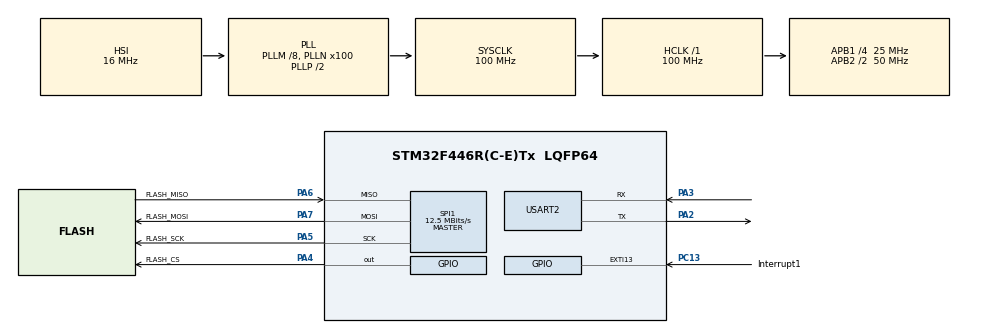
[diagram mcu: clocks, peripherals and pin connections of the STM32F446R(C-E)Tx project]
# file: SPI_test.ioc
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FREERTOS.Tasks01=App1,24,128,StartApp1,Default,NULL,Dynamic,NULL,NULL;App2,8,128,StartApp2,Default,NULL,Dynamic,NULL,NULL;App3,8,128,StartApp3,Default,NULL,Dynamic,NULL,NULL
FREERTOS.configUSE_NEWLIB_REENTRANT=1
Mcu.Family=STM32F4
Mcu.Name=STM32F446R(C-E)Tx
Mcu.Package=LQFP64
NVIC.EXTI15_10_IRQn=true\:5\:0\:false\:false\:true\:true\:true\:true\:true
NVIC.PriorityGroup=NVIC_PRIORITYGROUP_4
NVIC.TIM6_DAC_IRQn=true\:15\:0\:false\:false\:true\:false\:false\:true\:true
NVIC.TimeBase=TIM6_DAC_IRQn
NVIC.TimeBaseIP=TIM6
PA13.Mode=Serial_Wire
PA13.Signal=SYS_JTMS-SWDIO
PA14.Mode=Serial_Wire
PA14.Signal=SYS_JTCK-SWCLK
PA2.Mode=Asynchronous
PA2.Signal=USART2_TX
PA3.Mode=Asynchronous
PA3.Signal=USART2_RX
PA4.GPIO_Label=FLASH_CS
PA4.GPIO_Speed=GPIO_SPEED_FREQ_HIGH
PA4.PinState=GPIO_PIN_SET
PA4.Signal=GPIO_Output
PA5.GPIO_Label=FLASH_SCK
PA5.Mode=Full_Duplex_Master
PA5.Signal=SPI1_SCK
PA6.GPIO_Label=FLASH_MISO
PA6.Mode=Full_Duplex_Master
PA6.Signal=SPI1_MISO
PA7.GPIO_Label=FLASH_MOSI
PA7.Mode=Full_Duplex_Master
PA7.Signal=SPI1_MOSI
PC13.GPIO_Label=Interrupt1
PC13.Signal=GPXTI13
ProjectManager.HeapSize=0x200
ProjectManager.StackSize=0x400
ProjectManager.TargetToolchain=STM32CubeIDE
RCC.AHBFreq_Value=100000000
RCC.APB1CLKDivider=RCC_HCLK_DIV4
RCC.APB1Freq_Value=25000000
RCC.APB1TimFreq_Value=50000000
RCC.APB2CLKDivider=RCC_HCLK_DIV2
RCC.APB2Freq_Value=50000000
RCC.APB2TimFreq_Value=100000000
RCC.CortexFreq_Value=100000000
RCC.HCLKFreq_Value=100000000
RCC.PLLM=8
RCC.PLLN=100
RCC.SYSCLKFreq_VALUE=100000000
RCC.SYSCLKSource=RCC_SYSCLKSOURCE_PLLCLK
RCC.USBFreq_Value=100000000
RCC.VCOOutputFreq_Value=200000000
SPI1.BaudRatePrescaler=SPI_BAUDRATEPRESCALER_4
SPI1.CalculateBaudRate=12.5 MBits/s
SPI1.Direction=SPI_DIRECTION_2LINES
SPI1.Mode=SPI_MODE_MASTER
SPI1.VirtualType=VM_MASTER
USART2.VirtualMode=VM_ASYNC
VP_FREERTOS_VS_CMSIS_V2.Mode=CMSIS_V2
VP_SYS_VS_tim6.Mode=TIM6
board=custom

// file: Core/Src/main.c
/* USER CODE BEGIN Header */
/**
  ******************************************************************************
  * @file           : main.c
  * @brief          : Main program body
  ******************************************************************************
  * @attention
  *
  * Copyright (c) 2024 STMicroelectronics.
  * All rights reserved.
  *
  * This software is licensed under terms that can be found in the LICENSE file
  * in the root directory of this software component.
  * If no LICENSE file comes with this software, it is provided AS-IS.
  *
  ******************************************************************************
  */
/* USER CODE END Header */
#include "main.h"
#include "cmsis_os.h"

/* USER CODE BEGIN Includes */
#include "z_flash_W25QXXX.h"
#include <string.h>
#include <stdio.h>
#include <stdbool.h>
#include "memory_operations.h"
#include "applications.h"
#include "FreeRTOS.h"
#include "semphr.h"

/* USER CODE END Includes */

SPI_HandleTypeDef hspi1;

UART_HandleTypeDef huart2;

/* Definitions for App1 */
osThreadId_t App1Handle;
const osThreadAttr_t App1_attributes = {
  .name = "App1",
  .stack_size = 128 * 4,
  .priority = (osPriority_t) osPriorityNormal,
};

void SystemClock_Config(void);
static void MX_GPIO_Init(void);
static void MX_SPI1_Init(void);
static void MX_USART2_UART_Init(void);
void StartApp1(void *argument);

/* USER CODE BEGIN 0 */
#ifdef __GNUC__
int __io_putchar(int ch)
#else
int fputc(int ch, FILE *f)
#endif /* __GNUC__ */
{
	HAL_UART_Transmit(&huart2, (uint8_t *)&ch, 1, HAL_MAX_DELAY);
	return ch;
}

/* USER CODE END 0 */

int main(void)
{

  /* MCU Configuration--------------------------------------------------------*/

  /* Reset of all peripherals, Initializes the Flash interface and the Systick. */
  HAL_Init();

  /* Configure the system clock */
  SystemClock_Config();

  /* Initialize all configured peripherals */
  MX_GPIO_Init();
  MX_SPI1_Init();
  MX_USART2_UART_Init();
  /* USER CODE BEGIN 2 */
  printf("Starting System...\r\n");

  Flash_ChipErase();
  printf("Flash_ChipErase Performed\r\n");

  void Init();

  /* USER CODE END 2 */

  /* Init scheduler */
  osKernelInitialize();

  /* Create the thread(s) */
  /* creation of App1 */
  App1Handle = osThreadNew(StartApp1, NULL, &App1_attributes);

  /* Start scheduler */
  osKernelStart();

  /* We should never get here as control is now taken by the scheduler */
  /* Infinite loop */
  while (1)
  {

    /* USER CODE BEGIN 3 */
	  /*
	  printf("holaa que tal?\r\n");
	  HAL_Delay(1000);

	  if (!Flash_Init()){
		  while(1){}
	  }

	  //Flash_ChipErase();
	  uint8_t mess[20];

	  strcpy((char*)mess, "TestMessage");

	  Flash_Write(0, mess, 12);

	  strcpy((char*)mess, "            ");

	  Flash_Read(0, mess, 12);

	  HAL_Delay(100);

	  //perform safety copy
	  uint8_t *ptr = (uint8_t *)0x800c000; //Sector 3 Address
	  Flash_Write(0x9000c000,ptr,GetSectorSize(ADDR_FLASH_SECTOR_3 ));
	  Flash_WaitForWritingComplete();

	  CopyCodeFromFlash(0x9000c000, ADDR_FLASH_SECTOR_4, GetSectorSize(ADDR_FLASH_SECTOR_3 ));

	  HAL_Delay(1000);
	  */

  }
  /* USER CODE END 3 */
}

void SystemClock_Config(void)
{
  RCC_OscInitTypeDef RCC_OscInitStruct = {0};
  RCC_ClkInitTypeDef RCC_ClkInitStruct = {0};

  /** Configure the main internal regulator output voltage
  */
  __HAL_RCC_PWR_CLK_ENABLE();
  __HAL_PWR_VOLTAGESCALING_CONFIG(PWR_REGULATOR_VOLTAGE_SCALE3);

  /** Initializes the RCC Oscillators according to the specified parameters
  * in the RCC_OscInitTypeDef structure.
  */
  RCC_OscInitStruct.OscillatorType = RCC_OSCILLATORTYPE_HSI;
  RCC_OscInitStruct.HSIState = RCC_HSI_ON;
  RCC_OscInitStruct.HSICalibrationValue = RCC_HSICALIBRATION_DEFAULT;
  RCC_OscInitStruct.PLL.PLLState = RCC_PLL_ON;
  RCC_OscInitStruct.PLL.PLLSource = RCC_PLLSOURCE_HSI;
  RCC_OscInitStruct.PLL.PLLM = 8;
  RCC_OscInitStruct.PLL.PLLN = 100;
  RCC_OscInitStruct.PLL.PLLP = RCC_PLLP_DIV2;
  RCC_OscInitStruct.PLL.PLLQ = 2;
  RCC_OscInitStruct.PLL.PLLR = 2;
  if (HAL_RCC_OscConfig(&RCC_OscInitStruct) != HAL_OK)
  {
    Error_Handler();
  }

  /** Initializes the CPU, AHB and APB buses clocks
  */
  RCC_ClkInitStruct.ClockType = RCC_CLOCKTYPE_HCLK|RCC_CLOCKTYPE_SYSCLK
                              |RCC_CLOCKTYPE_PCLK1|RCC_CLOCKTYPE_PCLK2;
  RCC_ClkInitStruct.SYSCLKSource = RCC_SYSCLKSOURCE_PLLCLK;
  RCC_ClkInitStruct.AHBCLKDivider = RCC_SYSCLK_DIV1;
  RCC_ClkInitStruct.APB1CLKDivider = RCC_HCLK_DIV4;
  RCC_ClkInitStruct.APB2CLKDivider = RCC_HCLK_DIV2;

  if (HAL_RCC_ClockConfig(&RCC_ClkInitStruct, FLASH_LATENCY_3) != HAL_OK)
  {
    Error_Handler();
  }
}

static void MX_SPI1_Init(void)
{

  /* SPI1 parameter configuration*/
  hspi1.Instance = SPI1;
  hspi1.Init.Mode = SPI_MODE_MASTER;
  hspi1.Init.Direction = SPI_DIRECTION_2LINES;
  hspi1.Init.DataSize = SPI_DATASIZE_8BIT;
  hspi1.Init.CLKPolarity = SPI_POLARITY_LOW;
  hspi1.Init.CLKPhase = SPI_PHASE_1EDGE;
  hspi1.Init.NSS = SPI_NSS_SOFT;
  hspi1.Init.BaudRatePrescaler = SPI_BAUDRATEPRESCALER_2;
  hspi1.Init.FirstBit = SPI_FIRSTBIT_MSB;
  hspi1.Init.TIMode = SPI_TIMODE_DISABLE;
  hspi1.Init.CRCCalculation = SPI_CRCCALCULATION_DISABLE;
  hspi1.Init.CRCPolynomial = 10;
  if (HAL_SPI_Init(&hspi1) != HAL_OK)
  {
    Error_Handler();
  }

}

static void MX_USART2_UART_Init(void)
{

  huart2.Instance = USART2;
  huart2.Init.BaudRate = 115200;
  huart2.Init.WordLength = UART_WORDLENGTH_8B;
  huart2.Init.StopBits = UART_STOPBITS_1;
  huart2.Init.Parity = UART_PARITY_NONE;
  huart2.Init.Mode = UART_MODE_TX_RX;
  huart2.Init.HwFlowCtl = UART_HWCONTROL_NONE;
  huart2.Init.OverSampling = UART_OVERSAMPLING_16;
  if (HAL_UART_Init(&huart2) != HAL_OK)
  {
    Error_Handler();
  }

}

static void MX_GPIO_Init(void)
{
  GPIO_InitTypeDef GPIO_InitStruct = {0};

  /* GPIO Ports Clock Enable */
  __HAL_RCC_GPIOC_CLK_ENABLE();
  __HAL_RCC_GPIOA_CLK_ENABLE();

  /*Configure GPIO pin Output Level */
  HAL_GPIO_WritePin(FLASH_CS_GPIO_Port, FLASH_CS_Pin, GPIO_PIN_SET);

  /*Configure GPIO pin : Interrupt1_Pin */
  GPIO_InitStruct.Pin = Interrupt1_Pin;
  GPIO_InitStruct.Mode = GPIO_MODE_IT_RISING;
  GPIO_InitStruct.Pull = GPIO_NOPULL;
  HAL_GPIO_Init(Interrupt1_GPIO_Port, &GPIO_InitStruct);

  /*Configure GPIO pin : FLASH_CS_Pin */
  GPIO_InitStruct.Pin = FLASH_CS_Pin;
  GPIO_InitStruct.Mode = GPIO_MODE_OUTPUT_PP;
  GPIO_InitStruct.Pull = GPIO_NOPULL;
  GPIO_InitStruct.Speed = GPIO_SPEED_FREQ_HIGH;
  HAL_GPIO_Init(FLASH_CS_GPIO_Port, &GPIO_InitStruct);

  /* EXTI interrupt init*/
  HAL_NVIC_SetPriority(EXTI15_10_IRQn, 5, 0);
  HAL_NVIC_EnableIRQ(EXTI15_10_IRQn);

}

/* USER CODE BEGIN 4 */

// Mutex for external SPI

SemaphoreHandle_t flashMutex;

void Init() {
    // Create mutex
    flashMutex = xSemaphoreCreateMutex();
    if (flashMutex == NULL) {
        // Handle mutex creation error
    }
}

//interrupt handling

bool flag1 = 0;

void HAL_GPIO_EXTI_Callback(uint16_t GPIO_Pin) {
    if (GPIO_Pin == GPIO_PIN_13) {
        // Set the flag to indicate button press
    	  flag1 = 1;
		  printf("Attending interrupt 1 \r\n");

		  // Access critical section here
		  // Flash operations, etc.

        }
}
/* USER CODE END 4 */

void StartApp1(void *argument)
{
  /* USER CODE BEGIN 5 */
  /* Infinite loop */

  for(;;)
  {
	  if(flag1 <1)
	  {
		    application1();
		    osDelay(1000);
	  }
	  else{
		  // Take (lock) the mutex before accessing critical section
		  int size = GetSectorSize(ADDR_FLASH_SECTOR_4)/4;
		  printf("the size of the copy will be: %d \r\n", size);
		  printf("performing sector copy\r\n");
		  uint8_t *ptr1 = (uint8_t *)0x8010000; //Sector 4 Address
		  SPI_Flash_Write(0x90010000,ptr1,size);
		  printf("Changing code form flash r\n");
		  CopyCodeFromSPIFlash(0x90010000, 0x8020000,size);
		  printf("ready to relaunch\r\n");
		  flag1 = 0;

	  }

  }
  /* USER CODE END 5 */
}

void HAL_TIM_PeriodElapsedCallback(TIM_HandleTypeDef *htim)
{
  if (htim->Instance == TIM6) {
    HAL_IncTick();
  }
}

void Error_Handler(void)
{
  __disable_irq();
  while (1)
  {
  }
}
